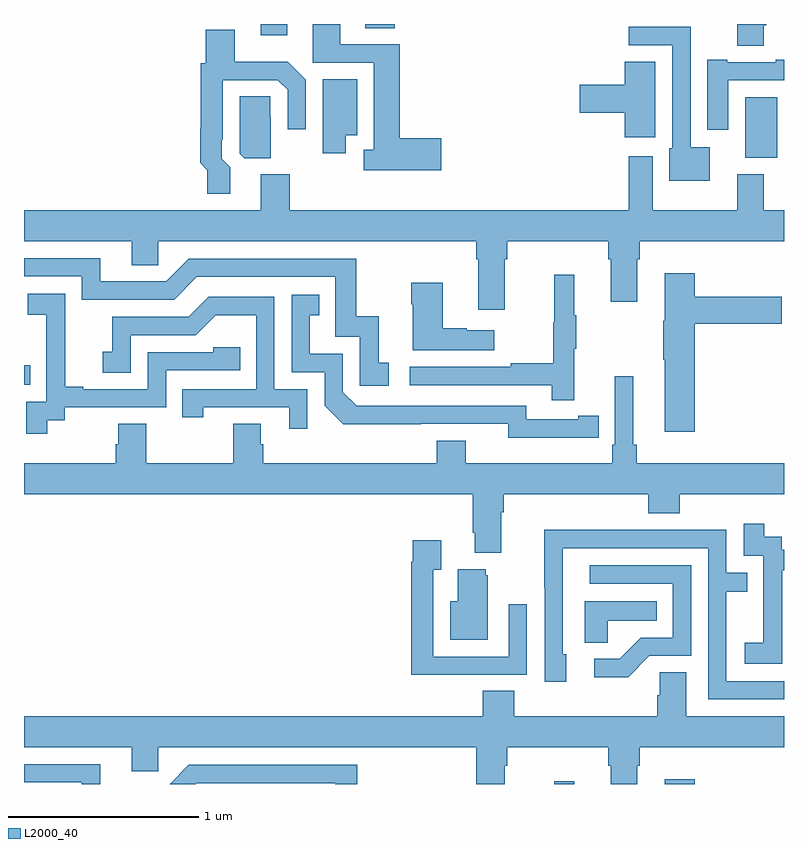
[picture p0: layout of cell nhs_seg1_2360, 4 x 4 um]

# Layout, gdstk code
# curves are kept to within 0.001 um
import gdstk
lib = gdstk.Library(unit=1e-6, precision=1e-09)
def R(c, l, rs):  # rectangles x0, y0, x1, y1
    for r in rs: c.add(gdstk.rectangle(r[:2], r[2:], *l))
def P(c, l, *ps):  # polygons
    for p in ps: c.add(gdstk.Polygon(p, *l))
L2000_40 = (2000, 40)

nhs_seg1_2360 = lib.new_cell('nhs_seg1_2360')
R(nhs_seg1_2360, L2000_40, [(241.792,558.199,241.895,558.214), (242.372,558.199,242.531,558.223), (239,560.301,239.033,560.402), (242.795,561.494,242.965,561.814), (240.245,562.14,240.385,562.199), (240.797,562.177,240.95,562.199)])
P(nhs_seg1_2360, L2000_40, [(242.893,562.192),(242.906,562.192),(242.906,562.199),(242.753,562.199),(242.753,562.084),(242.893,562.084)],
  [(241.195,561.599),(240.977,561.599),(240.977,562.092),(240.664,562.092),(240.664,562.199),(240.521,562.199),(240.521,561.996),(240.842,561.996),(240.842,561.538),(240.789,561.538),(240.789,561.429),(241.195,561.429)],
  [(242.608,561.55),(242.508,561.55),(242.508,562.184),(242.184,562.184),(242.184,562.086),(242.412,562.086),(242.412,561.546),(242.396,561.546),(242.396,561.374),(242.608,561.374)],
  [(240.085,561.446),(240.042,561.489),(240.042,561.589),(240.045,561.589),(240.045,561.903),(240.336,561.903),(240.387,561.852),(240.387,561.645),(240.483,561.645),(240.483,561.906),(240.389,562),(240.109,562),(240.109,562.168),(239.957,562.168),(239.957,561.993),(239.929,561.993),(239.929,561.65),(239.927,561.65),(239.927,561.468),(239.965,561.429),(239.965,561.306),(240.085,561.306)],
  [(242.707,561.903),(243,561.903),(243,562.012),(242.957,562.012),(242.957,561.999),(242.701,561.999),(242.701,562.012),(242.597,562.012),(242.597,561.642),(242.707,561.642)],
  [(242.323,562.001),(242.162,562.001),(242.162,561.878),(241.926,561.878),(241.926,561.731),(242.162,561.731),(242.162,561.603),(242.323,561.603)],
  [(240.694,561.614),(240.754,561.614),(240.754,561.907),(240.572,561.907),(240.572,561.519),(240.694,561.519)],
  [(240.298,561.707),(240.297,561.707),(240.297,561.818),(240.135,561.818),(240.135,561.516),(240.159,561.493),(240.298,561.493)],
  [(241.531,560.96),(241.544,560.96),(241.544,561.056),(242.075,561.056),(242.075,560.96),(242.087,560.96),(242.087,560.736),(242.227,560.736),(242.227,560.96),(242.24,560.96),(242.24,561.056),(243,561.056),(243,561.22),(242.893,561.22),(242.893,561.409),(242.753,561.409),(242.753,561.22),(242.308,561.22),(242.308,561.502),(242.183,561.502),(242.183,561.22),(240.398,561.22),(240.398,561.408),(240.245,561.408),(240.245,561.22),(239,561.22),(239,561.056),(239.567,561.056),(239.567,560.929),(239.706,560.929),(239.706,561.056),(241.379,561.056),(241.379,560.96),(241.391,560.96),(241.391,560.694),(241.531,560.694)],
  [(240.919,560.415),(240.866,560.415),(240.866,560.662),(240.748,560.662),(240.748,560.964),(239.868,560.964),(239.748,560.844),(239.401,560.844),(239.401,560.967),(239,560.967),(239,560.871),(239.304,560.871),(239.304,560.748),(239.79,560.748),(239.91,560.868),(240.639,560.868),(240.639,560.553),(240.768,560.553),(240.768,560.295),(240.919,560.295)],
  [(242.531,560.621),(242.989,560.621),(242.989,560.763),(242.531,560.763),(242.531,560.887),(242.372,560.887),(242.372,560.637),(242.365,560.637),(242.365,560.431),(242.372,560.431),(242.372,560.052),(242.531,560.052)],
  [(241.895,560.491),(241.906,560.491),(241.906,560.665),(241.895,560.665),(241.895,560.878),(241.792,560.878),(241.792,560.628),(241.785,560.628),(241.785,560.414),(241.561,560.414),(241.561,560.394),(241.029,560.394),(241.029,560.298),(241.777,560.298),(241.777,560.22),(241.895,560.22)],
  [(241.474,560.587),(241.331,560.587),(241.331,560.597),(241.204,560.597),(241.204,560.836),(241.039,560.836),(241.039,560.723),(241.046,560.723),(241.046,560.483),(241.474,560.483)],
  [(239.122,560.113),(239.214,560.113),(239.214,560.181),(239.748,560.181),(239.748,560.376),(240.137,560.376),(240.137,560.499),(239.997,560.499),(239.997,560.472),(239.652,560.472),(239.652,560.277),(239.311,560.277),(239.311,560.29),(239.216,560.29),(239.216,560.573),(239.217,560.573),(239.217,560.779),(239.019,560.779),(239.019,560.669),(239.117,560.669),(239.117,560.441),(239.118,560.441),(239.118,560.211),(239.013,560.211),(239.013,560.043),(239.122,560.043)],
  [(241.916,560.022),(242.024,560.022),(242.024,560.138),(241.916,560.138),(241.916,560.118),(241.644,560.118),(241.644,560.19),(240.75,560.19),(240.678,560.262),(240.678,560.463),(240.505,560.463),(240.505,560.667),(240.554,560.667),(240.554,560.773),(240.408,560.773),(240.408,560.367),(240.582,560.367),(240.582,560.19),(240.68,560.093),(241.548,560.094),(241.548,560.021)],
  [(240.492,560.277),(240.318,560.277),(240.318,560.763),(239.972,560.763),(239.867,560.658),(239.464,560.658),(239.464,560.473),(239.415,560.473),(239.415,560.364),(239.562,560.364),(239.562,560.562),(239.904,560.562),(240.008,560.666),(240.222,560.666),(240.222,560.277),(239.833,560.277),(239.833,560.13),(239.944,560.13),(239.944,560.181),(240.395,560.181),(240.395,560.07),(240.492,560.07)],
  [(241.513,559.628),(241.526,559.628),(241.526,559.724),(242.285,559.724),(242.285,559.625),(242.45,559.625),(242.45,559.724),(243,559.724),(243,559.888),(242.225,559.888),(242.225,559.984),(242.206,559.984),(242.206,560.344),(242.109,560.344),(242.109,559.984),(242.096,559.984),(242.096,559.888),(241.324,559.888),(241.324,560.005),(241.172,560.005),(241.172,559.888),(240.26,559.888),(240.26,559.986),(240.247,559.986),(240.247,560.096),(240.1,560.096),(240.1,559.888),(239.643,559.888),(239.643,560.096),(239.495,560.096),(239.495,559.986),(239.483,559.986),(239.483,559.888),(239,559.888),(239,559.724),(241.361,559.724),(241.361,559.522),(241.373,559.522),(241.373,559.415),(241.513,559.415)],
  [(242.991,559.039),(242.99,559.039),(242.99,559.323),(243,559.323),(243,559.431),(242.988,559.431),(242.988,559.5),(242.896,559.5),(242.896,559.57),(242.787,559.57),(242.787,559.401),(242.892,559.401),(242.892,559.172),(242.891,559.172),(242.891,558.943),(242.793,558.943),(242.793,558.833),(242.991,558.833)],
  [(243,558.741),(242.697,558.741),(242.697,559.21),(242.807,559.21),(242.807,559.311),(242.697,559.311),(242.697,559.536),(242.201,559.536),(242.201,559.538),(241.738,559.538),(241.738,559.231),(241.74,559.231),(241.74,558.738),(241.855,558.738),(241.855,558.882),(241.836,558.882),(241.836,559.44),(242.601,559.44),(242.601,558.645),(243,558.645)],
  [(241.331,558.774),(241.647,558.774),(241.647,559.144),(241.551,559.144),(241.551,558.87),(241.155,558.87),(241.155,559.327),(241.195,559.327),(241.195,559.483),(241.047,559.483),(241.047,559.37),(241.039,559.37),(241.039,558.773),(241.331,558.773)],
  [(242.292,558.873),(242.511,558.873),(242.511,559.35),(241.977,559.35),(241.977,559.254),(242.415,559.254),(242.415,558.969),(242.246,558.969),(242.135,558.858),(242.001,558.858),(242.001,558.761),(242.179,558.761)],
  [(241.441,559.299),(241.43,559.299),(241.43,559.33),(241.283,559.33),(241.283,559.162),(241.244,559.162),(241.244,558.959),(241.441,558.959)],
  [(242.073,559.058),(242.33,559.058),(242.33,559.162),(241.952,559.162),(241.952,558.943),(242.073,558.943)],
  [(241.531,558.296),(241.544,558.296),(241.544,558.392),(242.075,558.392),(242.075,558.296),(242.087,558.296),(242.087,558.199),(242.227,558.199),(242.227,558.296),(242.24,558.296),(242.24,558.392),(243,558.392),(243,558.556),(242.485,558.556),(242.485,558.788),(242.346,558.788),(242.346,558.665),(242.333,558.665),(242.333,558.556),(241.58,558.556),(241.58,558.689),(241.415,558.689),(241.415,558.556),(239,558.556),(239,558.392),(239.567,558.392),(239.567,558.265),(239.706,558.265),(239.706,558.392),(241.379,558.392),(241.379,558.199),(241.531,558.199)],
  [(239.401,558.303),(239,558.303),(239,558.207),(239.304,558.207),(239.304,558.199),(239.401,558.199)],
  [(239.91,558.204),(240.639,558.204),(240.639,558.199),(240.755,558.199),(240.755,558.3),(239.868,558.3),(239.767,558.199),(239.905,558.199)])

lib.write_gds('nhs_seg1_2360.gds')
